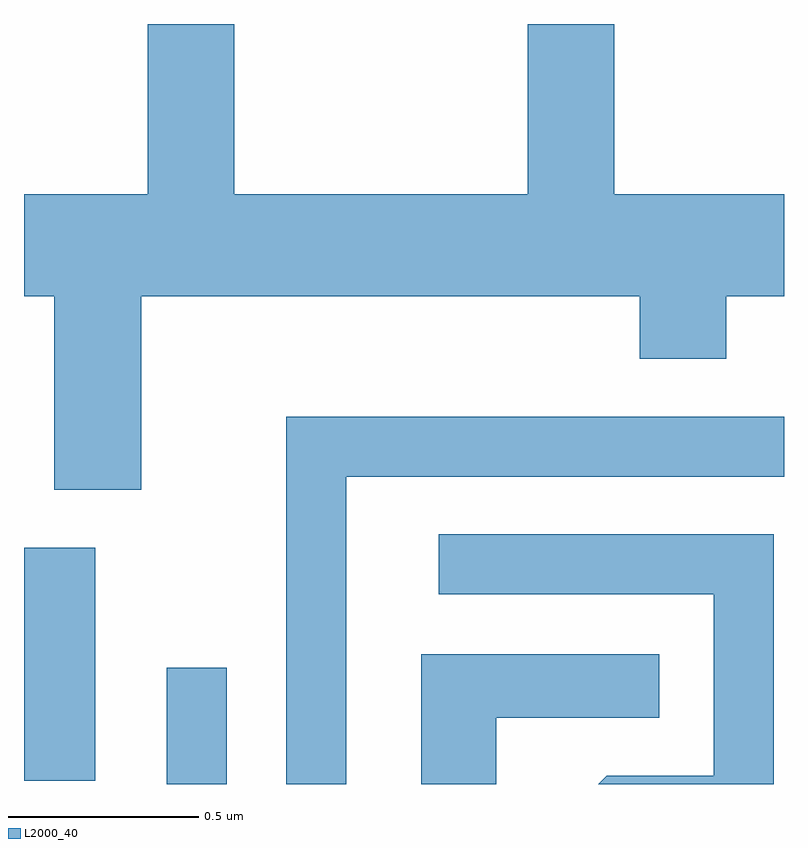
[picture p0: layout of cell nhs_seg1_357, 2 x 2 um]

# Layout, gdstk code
import gdstk
lib = gdstk.Library(unit=1e-6, precision=1e-09)
def R(c, l, rs):  # rectangles x0, y0, x1, y1
    for r in rs: c.add(gdstk.rectangle(r[:2], r[2:], *l))
def P(c, l, *ps):  # polygons
    for p in ps: c.add(gdstk.Polygon(p, *l))
L2000_40 = (2000, 40)

nhs_seg1_357 = lib.new_cell('nhs_seg1_357')
R(nhs_seg1_357, L2000_40, [(187.986,922.712,188.144,923.018), (187.611,922.721,187.799,923.334)])
P(nhs_seg1_357, L2000_40, [(187.919,923.996),(189.231,923.996),(189.231,923.831),(189.459,923.831),(189.459,923.996),(189.611,923.996),(189.611,924.264),(189.164,924.264),(189.164,924.712),(188.936,924.712),(188.936,924.264),(188.164,924.264),(188.164,924.712),(187.936,924.712),(187.936,924.264),(187.611,924.264),(187.611,923.996),(187.691,923.996),(187.691,923.486),(187.919,923.486)],
  [(188.459,923.521),(189.611,923.521),(189.611,923.679),(188.301,923.679),(188.301,922.712),(188.459,922.712)],
  [(189.584,923.369),(188.703,923.369),(188.703,923.211),(189.426,923.211),(189.426,922.734),(189.144,922.734),(189.122,922.712),(189.584,922.712)],
  [(188.854,922.886),(189.283,922.886),(189.283,923.054),(188.656,923.054),(188.656,922.712),(188.854,922.712)])

lib.write_gds('nhs_seg1_357.gds')
